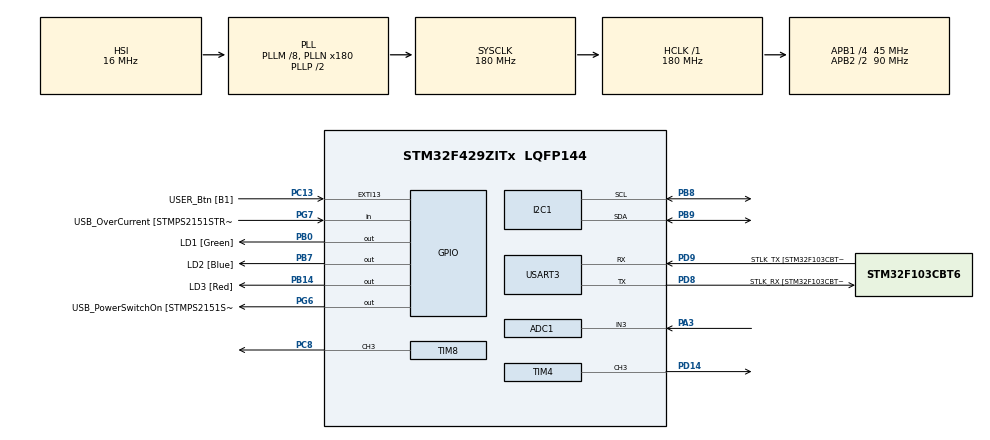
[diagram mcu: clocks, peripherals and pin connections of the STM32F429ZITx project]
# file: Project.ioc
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ADC1.Channel-0\#ChannelRegularConversion=ADC_CHANNEL_3
ADC1.EnableAnalogWatchDog=false
ADC1.ExternalTrigConv=ADC_EXTERNALTRIGCONV_T3_TRGO
ADC1.ExternalTrigConvEdge=ADC_EXTERNALTRIGCONVEDGE_RISINGFALLING
ADC1.NbrOfConversionFlag=1
ADC1.Rank-0\#ChannelRegularConversion=1
ADC1.SamplingTime-0\#ChannelRegularConversion=ADC_SAMPLETIME_3CYCLES
ADC1.master=1
Mcu.Family=STM32F4
Mcu.Name=STM32F429ZITx
Mcu.Package=LQFP144
NVIC.EXTI15_10_IRQn=true\:0\:0\:false\:true\:true\:4\:true\:true
NVIC.PriorityGroup=NVIC_PRIORITYGROUP_4
NVIC.TIM2_IRQn=true\:1\:0\:true\:true\:true\:6\:true\:true
NVIC.TIM3_IRQn=true\:0\:0\:true\:true\:true\:5\:true\:true
NVIC.TIM4_IRQn=true\:0\:0\:false\:true\:true\:2\:true\:true
NVIC.TIM5_IRQn=true\:0\:0\:false\:true\:true\:3\:true\:true
NVIC.USART3_IRQn=true\:0\:0\:false\:true\:true\:1\:true\:true
PA1.GPIO_Label=RMII_REF_CLK [LAN8742A-CZ-TR_REFCLK0]
PA1.Signal=ETH_REF_CLK
PA10.GPIO_Label=USB_ID
PA10.Signal=USB_OTG_FS_ID
PA11.GPIO_Label=USB_DM
PA11.Signal=USB_OTG_FS_DM
PA12.GPIO_Label=USB_DP
PA12.Signal=USB_OTG_FS_DP
PA13.GPIO_Label=TMS
PA13.Mode=Serial_Wire
PA13.Signal=SYS_JTMS-SWDIO
PA14.GPIO_Label=TCK
PA14.Mode=Serial_Wire
PA14.Signal=SYS_JTCK-SWCLK
PA2.GPIO_Label=RMII_MDIO [LAN8742A-CZ-TR_MDIO]
PA2.Signal=ETH_MDIO
PA3.GPIO_Mode=GPIO_MODE_ANALOG
PA3.GPIO_PuPd=GPIO_NOPULL
PA3.Signal=ADCx_IN3
PA7.GPIO_Label=RMII_CRS_DV [LAN8742A-CZ-TR_CRS_DV]
PA7.Signal=ETH_CRS_DV
PA8.GPIO_Label=USB_SOF [TP1]
PA8.Signal=USB_OTG_FS_SOF
PA9.GPIO_Label=USB_VBUS
PA9.Signal=USB_OTG_FS_VBUS
PB0.GPIO_Label=LD1 [Green]
PB0.Signal=GPIO_Output
PB13.GPIO_Label=RMII_TXD1 [LAN8742A-CZ-TR_TXD1]
PB13.Signal=ETH_TXD1
PB14.GPIO_Label=LD3 [Red]
PB14.Signal=GPIO_Output
PB7.GPIO_Label=LD2 [Blue]
PB7.Signal=GPIO_Output
PB8.GPIO_Pu=GPIO_PULLUP
PB8.Mode=I2C
PB8.Signal=I2C1_SCL
PB9.GPIO_Pu=GPIO_PULLUP
PB9.Mode=I2C
PB9.Signal=I2C1_SDA
PC1.GPIO_Label=RMII_MDC [LAN8742A-CZ-TR_MDC]
PC1.Signal=ETH_MDC
PC13.GPIO_Label=USER_Btn [B1]
PC13.GPIO_ModeDefaultEXTI=GPIO_MODE_IT_RISING_FALLING
PC13.Signal=GPXTI13
PC14/OSC32_IN.Mode=LSE-External-Oscillator
PC14/OSC32_IN.Signal=RCC_OSC32_IN
PC15/OSC32_OUT.Mode=LSE-External-Oscillator
PC15/OSC32_OUT.Signal=RCC_OSC32_OUT
PC4.GPIO_Label=RMII_RXD0 [LAN8742A-CZ-TR_RXD0]
PC4.Signal=ETH_RXD0
PC5.GPIO_Label=RMII_RXD1 [LAN8742A-CZ-TR_RXD1]
PC5.Signal=ETH_RXD1
PC8.Signal=S_TIM8_CH3
PD14.Signal=S_TIM4_CH3
PD8.GPIO_Label=STLK_RX [STM32F103CBT6_PA3]
PD8.Mode=Asynchronous
PD8.Signal=USART3_TX
PD9.GPIO_Label=STLK_TX [STM32F103CBT6_PA2]
PD9.Mode=Asynchronous
PD9.Signal=USART3_RX
PG11.GPIO_Label=RMII_TX_EN [LAN8742A-CZ-TR_TXEN]
PG11.Signal=ETH_TX_EN
PG13.GPIO_Label=RMII_TXD0 [LAN8742A-CZ-TR_TXD0]
PG13.Signal=ETH_TXD0
PG6.GPIO_Label=USB_PowerSwitchOn [STMPS2151STR_EN]
PG6.Signal=GPIO_Output
PG7.GPIO_Label=USB_OverCurrent [STMPS2151STR_FAULT]
PG7.Signal=GPIO_Input
PH0/OSC_IN.GPIO_Label=MCO [STM32F103CBT6_PA8]
PH0/OSC_IN.Mode=HSE-External-Clock-Source
PH0/OSC_IN.Signal=RCC_OSC_IN
PH1/OSC_OUT.Mode=HSE-External-Clock-Source
PH1/OSC_OUT.Signal=RCC_OSC_OUT
ProjectManager.HeapSize=0x200
ProjectManager.StackSize=0x400
ProjectManager.TargetToolchain=STM32CubeIDE
RCC.48MHZClocksFreq_Value=51428571.428571425
RCC.AHBFreq_Value=180000000
RCC.APB1CLKDivider=RCC_HCLK_DIV4
RCC.APB1Freq_Value=45000000
RCC.APB1TimFreq_Value=90000000
RCC.APB2CLKDivider=RCC_HCLK_DIV2
RCC.APB2Freq_Value=90000000
RCC.APB2TimCLKDivider=2
RCC.APB2TimFreq_Value=180000000
RCC.CortexFreq_Value=180000000
RCC.HCLKFreq_Value=180000000
RCC.HSE_VALUE=8000000
RCC.HSI_VALUE=16000000
RCC.PLLM=8
RCC.PLLMUL=RCC_PLL_MUL9
RCC.PLLN=180
RCC.PLLQ=7
RCC.PRESCALERUSB=RCC_USBCLKSOURCE_PLL_DIV1_5
RCC.RCC_RTC_Clock_Source=RCC_RTCCLKSOURCE_LSE
RCC.RCC_RTC_Clock_SourceVirtual=RCC_RTCCLKSOURCE_LSE
RCC.SYSCLKFreq_VALUE=180000000
RCC.SYSCLKSource=RCC_SYSCLKSOURCE_PLLCLK
RCC.SYSCLKSourceVirtual=RCC_SYSCLKSOURCE_PLLCLK
RCC.USBFreq_Value=48000000
RCC.VCOOutputFreq_Value=360000000
SH.ADCx_IN3.0=ADC1_IN3,IN3
SH.S_TIM4_CH3.0=TIM4_CH3,PWM Generation3 CH3
SH.S_TIM8_CH3.0=TIM8_CH3,PWM Generation3 CH3
TIM2.Period=9000
TIM2.Prescaler=10000
TIM3.Period=900
TIM3.Prescaler=10000
TIM3.TIM_MasterOutputTrigger=TIM_TRGO_UPDATE
TIM3.TIM_MasterSlaveMode=TIM_MASTERSLAVEMODE_ENABLE
TIM4.Channel-PWM\ Generation3\ CH3=TIM_CHANNEL_3
TIM4.Period=17999
TIM4.Prescaler=9999
TIM5.Period=2249
TIM5.Prescaler=1599
TIM8.Channel-PWM\ Generation3\ CH3=TIM_CHANNEL_3
TIM8.Period=199
TIM8.Prescaler=179
USART3.VirtualMode=VM_ASYNC
VP_RTC_VS_RTC_Activate.Mode=RTC_Enabled
VP_TIM2_VS_ClockSourceINT.Mode=Internal
VP_TIM3_VS_ClockSourceINT.Mode=Internal
VP_TIM5_VS_ClockSourceINT.Mode=Internal
board=NUCLEO-F429ZI

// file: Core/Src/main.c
/* USER CODE BEGIN Header */
/**
  ******************************************************************************
  * @file           : main.c
  * @brief          : Main program body
  ******************************************************************************
  * @attention
  *
  * Copyright (c) 2022 STMicroelectronics.
  * All rights reserved.
  *
  * This software is licensed under terms that can be found in the LICENSE file
  * in the root directory of this software component.
  * If no LICENSE file comes with this software, it is provided AS-IS.
  *
  ******************************************************************************
  */
/* USER CODE END Header */
#include "main.h"

/* USER CODE BEGIN Includes */
#include <string.h>
#include <stdio.h>
/* USER CODE END Includes */

/* USER CODE BEGIN PD */
#define C	262
#define D	294
#define E	330
#define F	349
#define G	392
#define A	440
#define B	494
#define C1	523
#define D1	587
#define E1	659
/* USER CODE END PD */

ADC_HandleTypeDef hadc1;

I2C_HandleTypeDef hi2c1;

RTC_HandleTypeDef hrtc;

TIM_HandleTypeDef htim2;
TIM_HandleTypeDef htim3;
TIM_HandleTypeDef htim4;
TIM_HandleTypeDef htim5;
TIM_HandleTypeDef htim8;

UART_HandleTypeDef huart3;

void SystemClock_Config(void);
static void MX_GPIO_Init(void);
static void MX_USART3_UART_Init(void);
static void MX_RTC_Init(void);
static void MX_ADC1_Init(void);
static void MX_I2C1_Init(void);
static void MX_TIM3_Init(void);
static void MX_TIM2_Init(void);
static void MX_TIM4_Init(void);
static void MX_TIM5_Init(void);
static void MX_TIM8_Init(void);
static void MX_NVIC_Init(void);

/* USER CODE BEGIN 0 */

#ifdef __GNUC__
  /* With GCC, small printf (option LD Linker->Libraries->Small printf
     set to 'Yes') calls __io_putchar() */
  #define PUTCHAR_PROTOTYPE int __io_putchar(int ch)
#else
  #define PUTCHAR_PROTOTYPE int fputc(int ch, FILE *f)
#endif /* __GNUC__ */

#define UP_KEY_MIN 0
#define UP_KEY_MAX 10

#define DOWN_KEY_MIN 800
#define DOWN_KEY_MAX 900

#define LEFT_KEY_MIN 1900
#define LEFT_KEY_MAX 2000

#define RIGHT_KEY_MIN 2950
#define RIGHT_KEY_MAX 3050

#define LONG_CLICK_MIN 1500  //1.5sec
#define LONG_CLICK_MAX 5000  //5sec

#define DOUBLE_CLICK_MIN 40
#define DOUBLE_CLICK_MAX 120
/*
 * led.c
 *
 *  Created on: Jan 3, 2022
 *      Author: 1
 */

#include "main.h"
#include "pitches.h"
I2C_HandleTypeDef hi2c1;

RTC_HandleTypeDef hrtc;

UART_HandleTypeDef huart3;

uint16_t melody1[] = {
NOTE_C5,NOTE_C5,NOTE_C5,NOTE_C5,NOTE_C5,
NOTE_E5,NOTE_G5,NOTE_G5,NOTE_E5,NOTE_C5,
NOTE_G5,NOTE_G5,NOTE_E5,NOTE_G5,NOTE_G5,NOTE_E5,
NOTE_C5,NOTE_C5,NOTE_C5,
NOTE_G5,NOTE_G5,NOTE_E5,NOTE_C5,
NOTE_G5,NOTE_G5,NOTE_G5,
NOTE_G5,NOTE_G5,NOTE_E5,NOTE_C5,
NOTE_G5,NOTE_G5,NOTE_G5,
NOTE_G5,NOTE_G5,NOTE_E5,NOTE_C5,
NOTE_G5,NOTE_G5,NOTE_G5,NOTE_A5,NOTE_G5,
NOTE_C6,NOTE_G5,NOTE_C6,NOTE_G5,
NOTE_E5,NOTE_D5,NOTE_C5
};
uint16_t noteDurations1[]={
4,8,8,4,4,
4,8,8,4,4,
8,8,4,8,8,4,
4,4,2,
4,4,4,4,
4,4,2,
4,4,4,4,
4,4,2,
4,4,4,4,
8,8,8,8,2,
4,4,4,4,
4,4,2
};

uint8_t start = 0;
uint8_t seq = 0;
uint8_t stop = 0;
uint16_t melody2[] = {
NOTE_B5,NOTE_B5,NOTE_B5,NOTE_B5,NOTE_B5,NOTE_B5,
NOTE_DS6,NOTE_B5,NOTE_B5,NOTE_A5,NOTE_G5,NOTE_A5,NOTE_B5,
NOTE_B5,NOTE_B5,NOTE_B5,NOTE_B5,NOTE_B5,NOTE_B5,
NOTE_B5,NOTE_A5,NOTE_G5,NOTE_A5,NOTE_G5,NOTE_D5,NOTE_D5,0,
NOTE_B5,NOTE_B5,NOTE_B5,NOTE_B5,NOTE_B5,NOTE_B5,
NOTE_DS6,NOTE_B5,NOTE_B5,NOTE_A5,NOTE_G5,NOTE_A5,NOTE_B5,
NOTE_B5,NOTE_B5,NOTE_B5,NOTE_B5,NOTE_B5,NOTE_B5,
NOTE_B5,NOTE_A5,NOTE_G5,NOTE_A5,NOTE_G5,NOTE_D5,NOTE_D5,0,
NOTE_E5,NOTE_FS5,NOTE_E5,NOTE_FS5,NOTE_E5,NOTE_FS5,NOTE_E5,NOTE_FS5,
NOTE_E5,NOTE_FS5,NOTE_E5,NOTE_FS5,NOTE_E5,NOTE_FS5,NOTE_E5,NOTE_FS5,
NOTE_E5,NOTE_E5
};
uint16_t noteDurations2[]={
4,4,2,4,4,2,
4,4,4,4,4,4,4,2,
4,4,2,4,4,2,
4,4,4,4,4,4,2,16,
4,4,2,4,4,2,
4,4,4,4,4,4,4,2,
4,4,2,4,4,2,
4,4,4,4,4,4,2,16,
8,8,8,8,8,8,8,8,
8,8,8,8,8,8,8,8,
1,1
};
uint16_t melody3[] = {
NOTE_B5,NOTE_B5,NOTE_B5,NOTE_B5,NOTE_B5,NOTE_B5,
NOTE_DS6,NOTE_B5,NOTE_B5,NOTE_A5,NOTE_G5,NOTE_A5,NOTE_B5,
NOTE_B5,NOTE_B5,NOTE_B5,NOTE_B5,NOTE_B5,NOTE_B5,
NOTE_B5,NOTE_A5,NOTE_G5,NOTE_A5,NOTE_G5,NOTE_D5,NOTE_D5,0,
NOTE_B5,NOTE_B5,NOTE_B5,NOTE_B5,NOTE_B5,NOTE_B5,
NOTE_DS6,NOTE_B5,NOTE_B5,NOTE_A5,NOTE_G5,NOTE_A5,NOTE_B5,
NOTE_B5,NOTE_B5,NOTE_B5,NOTE_B5,NOTE_B5,NOTE_B5,
NOTE_B5,NOTE_A5,NOTE_G5,NOTE_A5,NOTE_G5,NOTE_D5,NOTE_D5,0,
NOTE_E5,NOTE_FS5,NOTE_E5,NOTE_FS5,NOTE_E5,NOTE_FS5,NOTE_E5,NOTE_FS5,
NOTE_E5,NOTE_FS5,NOTE_E5,NOTE_FS5,NOTE_E5,NOTE_FS5,NOTE_E5,NOTE_FS5,
NOTE_E5,NOTE_E5
};

uint16_t noteDurations3[]={
4,4,2,4,4,2,
4,4,4,4,4,4,4,2,
4,4,2,4,4,2,
4,4,4,4,4,4,2,16,
4,4,2,4,4,2,
4,4,4,4,4,4,4,2,
4,4,2,4,4,2,
4,4,4,4,4,4,2,16,
8,8,8,8,8,8,8,8,
8,8,8,8,8,8,8,8,
1,1

};

#define LCD_ADDR (0x27 << 1)

#define PIN_RS    (1 << 0)
#define PIN_EN    (1 << 2)
#define BACKLIGHT (1 << 3)

#define LCD_DELAY_MS 5

void I2C_Scan() {
	 char info[] = "Scanning I2C bus...\r\n";
    HAL_UART_Transmit(&huart3, (uint8_t*)info, strlen(info), HAL_MAX_DELAY);

    HAL_StatusTypeDef res;
    for(uint16_t i = 0; i < 128; i++) {
        res = HAL_I2C_IsDeviceReady(&hi2c1, i << 1, 1, 10);
        if(res == HAL_OK) {
            char msg[64];
            snprintf(msg, sizeof(msg), "0x%02X", i);
            HAL_UART_Transmit(&huart3, (uint8_t*)msg, strlen(msg), HAL_MAX_DELAY);
        } else {
            HAL_UART_Transmit(&huart3, (uint8_t*)".", 1, HAL_MAX_DELAY);
        }
    }

    HAL_UART_Transmit(&huart3, (uint8_t*)"\r\n", 2, HAL_MAX_DELAY);
}

HAL_StatusTypeDef LCD_SendInternal(uint8_t lcd_addr, uint8_t data, uint8_t flags) {
    HAL_StatusTypeDef res;
    for(;;) {
        res = HAL_I2C_IsDeviceReady(&hi2c1, lcd_addr, 1, HAL_MAX_DELAY);
        if(res == HAL_OK)
            break;
    }

    uint8_t up = data & 0xF0;
    uint8_t lo = (data << 4) & 0xF0;

    uint8_t data_arr[4];
    data_arr[0] = up|flags|BACKLIGHT|PIN_EN;
    data_arr[1] = up|flags|BACKLIGHT;
    data_arr[2] = lo|flags|BACKLIGHT|PIN_EN;
    data_arr[3] = lo|flags|BACKLIGHT;

    res = HAL_I2C_Master_Transmit(&hi2c1, lcd_addr, data_arr, sizeof(data_arr), HAL_MAX_DELAY);
    HAL_Delay(LCD_DELAY_MS);
    return res;
}

void LCD_SendCommand(uint8_t lcd_addr, uint8_t cmd) {
    LCD_SendInternal(lcd_addr, cmd, 0);
}

void LCD_SendData(uint8_t lcd_addr, uint8_t data) {
    LCD_SendInternal(lcd_addr, data, PIN_RS);
}

void LCD_Init(uint8_t lcd_addr) {
    // 4-bit mode, 2 lines, 5x7 format
    LCD_SendCommand(lcd_addr, 0b00110000);
    // display & cursor home (keep this!)
    LCD_SendCommand(lcd_addr, 0b00000010);
    // display on, right shift, underline off, blink off
    LCD_SendCommand(lcd_addr, 0b00001100);
    // clear display (optional here)
    LCD_SendCommand(lcd_addr, 0b00000001);
}

void LCD_SendString(uint8_t lcd_addr, char *str) {
    while(*str) {
        LCD_SendData(lcd_addr, (uint8_t)(*str));
        str++;
    }
}
void LCD_print(int line_num,char *str)
{
	if(line_num == 0)
	{
	    LCD_SendCommand(LCD_ADDR, 0b10000000);
	    LCD_SendString(LCD_ADDR, str);
	}
	else
	{
	    LCD_SendCommand(LCD_ADDR, 0b11000000);
	    LCD_SendString(LCD_ADDR, str);
	}
}
void init() {
    I2C_Scan();
    LCD_Init(LCD_ADDR);

}

void loop() {
    HAL_Delay(100);
}

uint32_t FirstSector = 0, NbOfSectors = 0;
uint32_t Address = 0, SECTORError = 0;
__IO uint32_t data32 = 0 , MemoryProgramStatus = 0;
static FLASH_EraseInitTypeDef EraseInitStruct;

static uint32_t GetSector(uint32_t Address);
static uint32_t GetSectorSize(uint32_t Sector);

typedef struct {
  char ampm[3];
  uint8_t hours;
  uint8_t minutes;
  uint8_t seconds;
}TimeTypeDef;
uint8_t Key_value = 0,tim_set = 0;
TimeTypeDef ctime = {"AM",0,0,0};
TimeTypeDef stime = {"AM",0,0,0};
TimeTypeDef atime = {"AM",12,0,0};
uint32_t long_key_count;
char rcv_byte;

uint32_t ADC_value;
uint32_t last_time,current_time,time_interval, last_time_interval;

typedef struct{
  int32_t time;
  GPIO_PinState level;
}ClickInfoDef;

ClickInfoDef click[3];

enum CLOCK_BUTTON{
	NO_KEY,
	UP_KEY,
	DOWN_KEY,
	RIGHT_KEY,
	LEFT_KEY,
	SEL_KEY,
	LONG_KEY,
	DOUBLE_KEY
};

char time_str[30];
char stime_str[30];
char atime_str[30];
uint8_t setting_Location=0;
uint8_t alarm_Location=0;
uint8_t Cursor = 0b11000000;
uint8_t Music_Select=0;
uint8_t Mel;
uint8_t Length;
uint32_t address_melody=0x08108000;
uint32_t address_length=0x08110000;
uint8_t rx_data = 0;
void Memory(uint32_t Start,uint32_t end,TimeTypeDef clock)//Memory set
{
	  HAL_FLASH_Unlock();
	  FirstSector = GetSector(Start);
	  /* Get the number of sector to erase from 1st sector*/
	  NbOfSectors = GetSector(end) - FirstSector + 1;
	  /* Fill EraseInit structure*/
	  EraseInitStruct.TypeErase     = FLASH_TYPEERASE_SECTORS;
	  EraseInitStruct.VoltageRange  = FLASH_VOLTAGE_RANGE_3;
	  EraseInitStruct.Sector        = FirstSector;
	  EraseInitStruct.NbSectors     = NbOfSectors;

	  /* Note: If an erase operation in Flash memory also concerns data in the data or instruction cache,
	     you have to make sure that these data are rewritten before they are accessed during code
	     execution. If this cannot be done safely, it is recommended to flush the caches by setting the
	     DCRST and ICRST bits in the FLASH_CR register. */
	 if(HAL_FLASHEx_Erase(&EraseInitStruct, &SECTORError) != HAL_OK)
	  {
	    /*
	      Error occurred while sector erase.
	      User can add here some code to deal with this error.
	      SECTORError will contain the faulty sector and then to know the code error on this sector,
	      user can call function 'HAL_FLASH_GetError()'
	    */
	    /* Infinite loop */
	    while (1)
	    {
	    }
	  }

	    HAL_FLASH_Program(FLASH_TYPEPROGRAM_WORD, Start, clock.hours);
	    HAL_FLASH_Program(FLASH_TYPEPROGRAM_WORD, Start+4, clock.minutes);
	    HAL_FLASH_Program(FLASH_TYPEPROGRAM_WORD, Start+8, clock.seconds);
	 	 HAL_FLASH_Lock();
}

void Memory1(uint32_t Start,uint32_t end,uint16_t Melody[])//Memory set
{
	  HAL_FLASH_Unlock();
	  FirstSector = GetSector(Start);
	  /* Get the number of sector to erase from 1st sector*/
	  NbOfSectors =  1;
	  /* Fill EraseInit structure*/
	  EraseInitStruct.TypeErase     = FLASH_TYPEERASE_SECTORS;
	  EraseInitStruct.VoltageRange  = FLASH_VOLTAGE_RANGE_3;
	  EraseInitStruct.Sector        = FirstSector;
	  EraseInitStruct.NbSectors     = NbOfSectors;

	  /* Note: If an erase operation in Flash memory also concerns data in the data or instruction cache,
	     you have to make sure that these data are rewritten before they are accessed during code
	     execution. If this cannot be done safely, it is recommended to flush the caches by setting the
	     DCRST and ICRST bits in the FLASH_CR register. */
	 if(HAL_FLASHEx_Erase(&EraseInitStruct, &SECTORError) != HAL_OK)
	  {
	    /*
	      Error occurred while sector erase.
	      User can add here some code to deal with this error.
	      SECTORError will contain the faulty sector and then to know the code error on this sector,
	      user can call function 'HAL_FLASH_GetError()'
	    */
	    /* Infinite loop */
	    while (1)
	    {
	    }
	  }
	 for(int i = 0 ; Melody[i] != 0 ; i++)
	 {
	    HAL_FLASH_Program(FLASH_TYPEPROGRAM_WORD, Start, Melody[i]);
	    Start += 4;
	 }
	 	 HAL_FLASH_Lock();
}

void Music_set()
{

	if(Key_value == UP_KEY)
	{
		Music_Select++;
		if(Music_Select >= 3) Music_Select = 2;
	}
	else if (Key_value == DOWN_KEY)
	{
		Music_Select--;
		if(Music_Select < 0) Music_Select = 0;
	}
	LCD_print(0,"Alarm Music Sel ");
	if(Music_Select==0)
	{
		LCD_print(1,"Three bears      ");
		if(Key_value == LONG_KEY)
		{
			printf("Mel1\r\n");
			Memory1(ADDR_FLASH_SECTOR_14,ADDR_FLASH_SECTOR_15,melody1);
			Memory1(ADDR_FLASH_SECTOR_15,ADDR_FLASH_SECTOR_16,noteDurations1);
		}
	}
	if(Music_Select==1)
	{
		LCD_print(1,"Squid Game BGM    ");
		if(Key_value == LONG_KEY)
		{
			printf("Mel2\r\n");
			Memory1(ADDR_FLASH_SECTOR_14,ADDR_FLASH_SECTOR_15,melody2);
			Memory1(ADDR_FLASH_SECTOR_15,ADDR_FLASH_SECTOR_16,noteDurations2);
		}
	}
	if(Music_Select==2)
	{
		LCD_print(1,"Kill Bill ost      ");
		if(Key_value == LONG_KEY)
		{
			printf("Mel3\r\n");
			Memory1(ADDR_FLASH_SECTOR_14,ADDR_FLASH_SECTOR_15,melody3);
			Memory1(ADDR_FLASH_SECTOR_16,ADDR_FLASH_SECTOR_17,noteDurations3);
		}
	}

}

void time_setting()
{

		if(Key_value == RIGHT_KEY)
		{
			setting_Location++;
			if(setting_Location >= 4) setting_Location = 3;
		}
		else if (Key_value == LEFT_KEY)
		{
			setting_Location--;
			if(setting_Location < 0) setting_Location = 0;
		}
		if(setting_Location == 0)
		{
			if(Key_value == UP_KEY || Key_value == DOWN_KEY)
			{
		    	if(strchr(stime.ampm,'A')!= 0) strcpy(stime.ampm,"PM");
		    	else if(strchr(stime.ampm,'P')!= 0) strcpy(stime.ampm,"AM");
			}
		}
		if(setting_Location == 1)
		{
			Cursor = 0b11000100;
			if(Key_value == UP_KEY) stime.hours++;
			else if(Key_value == DOWN_KEY) stime.hours--;
			if(stime.hours >= 11) stime.hours = 11;
			if(stime.hours<0) stime.hours = 0;
		}
		if(setting_Location == 2)
		{
			Cursor = 0b11000111;
			if(Key_value == UP_KEY) stime.minutes++;
			else if(Key_value == DOWN_KEY) stime.minutes--;
			if(stime.minutes >= 59)	stime.minutes = 59;
			if(stime.minutes<0) stime.minutes = 0;
		}
		if(setting_Location == 3)
		{
			Cursor = 0b11001010;
			if(Key_value == UP_KEY) stime.seconds++;
			else if(Key_value == DOWN_KEY) stime.seconds--;
			if(stime.seconds >= 59)	stime.seconds = 59;
			if(stime.seconds<0) stime.seconds = 0;

		}
		sprintf(stime_str,"%s %02d:%02d:%02d        ",stime.ampm,stime.hours,stime.minutes,stime.seconds);
		LCD_print(0,"Time Setting    ");
		LCD_print(1,stime_str);

		LCD_SendCommand(LCD_ADDR, 0b00001101);
		LCD_SendCommand(LCD_ADDR, Cursor);
		HAL_Delay(200);

}
void alarm_setting()
{
	if(Key_value == RIGHT_KEY)
	{
		alarm_Location++;
		if(alarm_Location >= 4) alarm_Location = 3;

	}
	else if (Key_value == LEFT_KEY)
	{
		alarm_Location--;
		if(alarm_Location < 0) alarm_Location = 0;
	}
	if(alarm_Location == 0)
	{
		if(Key_value == UP_KEY || Key_value == DOWN_KEY)
		{
	    	if(strchr(stime.ampm,'A')!= 0) strcpy(stime.ampm,"PM");
	    	else if(strchr(stime.ampm,'P')!= 0) strcpy(stime.ampm,"AM");
		}
	}
	if(alarm_Location == 1)
	{
		Cursor = 0b11000100;
		if(Key_value == UP_KEY) atime.hours++;
		else if(Key_value == DOWN_KEY) atime.hours--;
		if(atime.hours >= 11) atime.hours = 11;
		if(atime.hours<0) atime.hours = 0;
	}
	if(alarm_Location == 2)
	{
		Cursor = 0b11000111;
		if(Key_value == UP_KEY) atime.minutes++;
		else if(Key_value == DOWN_KEY) atime.minutes--;
		if(atime.minutes >= 59) atime.minutes = 59;
		if(atime.minutes<0) atime.minutes = 0;
	}
	if(alarm_Location == 3)
	{
		Cursor = 0b11001010;
		if(Key_value == UP_KEY) atime.seconds++;
		else if(Key_value == DOWN_KEY) atime.seconds--;
		if(atime.seconds >= 59)	atime.seconds = 59;
		if(atime.seconds<0) atime.seconds = 0;
	}
	sprintf(atime_str,"%s %02d:%02d:%02d AL     ",atime.ampm,atime.hours,atime.minutes,atime.seconds);
	LCD_print(0,"Alarm Setting    ");
	LCD_print(1,atime_str);

    LCD_SendCommand(LCD_ADDR, 0b00001101);
    LCD_SendCommand(LCD_ADDR, Cursor);
    HAL_Delay(200);
}

/* USER CODE END 0 */

int main(void)
{

  /* MCU Configuration--------------------------------------------------------*/

  /* Reset of all peripherals, Initializes the Flash interface and the Systick. */
  HAL_Init();

  /* Configure the system clock */
  SystemClock_Config();

  /* Initialize all configured peripherals */
  MX_GPIO_Init();
  MX_USART3_UART_Init();
  MX_RTC_Init();
  MX_ADC1_Init();
  MX_I2C1_Init();
  MX_TIM3_Init();
  MX_TIM2_Init();
  MX_TIM4_Init();
  MX_TIM5_Init();
  MX_TIM8_Init();

  /* Initialize interrupts */
  MX_NVIC_Init();
  /* USER CODE BEGIN 2 */
  HAL_TIM_Base_Start_IT(&htim3);
  HAL_TIM_Base_Start_IT(&htim2);
  HAL_TIM_Base_Start_IT(&htim5);
  HAL_TIM_PWM_Start(&htim8, TIM_CHANNEL_3);
  HAL_UART_Receive_IT(&huart3, &rx_data, 1);
  ctime.hours = *(uint32_t *)0x08100000;
  ctime.minutes =*(uint32_t *)0x08100004;
  ctime.seconds =*(uint32_t *)0x08100008;

  /* USER CODE END 2 */

  /* Infinite loop */
  /* USER CODE BEGIN WHILE */
  init();

  while (1)
  {

	  if(Key_value == SEL_KEY)
	  {
			while(1)
			{

				time_setting();

				if(Key_value == SEL_KEY)
				{
					Memory(ADDR_FLASH_SECTOR_13,ADDR_FLASH_SECTOR_14,stime);
					ctime.hours = stime.hours;
					ctime.minutes = stime.minutes;
					ctime.seconds = stime.seconds;
					stime.hours =0;
					stime.minutes =0;
					stime.seconds =0;
					break;
				}

			}
	  }
	  else if(Key_value == LONG_KEY)
	  {
		  while(1)
		 {
			alarm_setting();

			if(Key_value == SEL_KEY)
			{
				printf("%02d\r\n",atime.hours);
				printf("%02d\r\n",atime.minutes);
				printf("%02d\r\n",atime.seconds);
				break;
			}
		 }

	  }
	  else if(Key_value == DOUBLE_KEY)
	  {
		  while(1)
		  {
			  Music_set();

			if(Key_value == SEL_KEY)
				break;
		  }
	  }

	  sprintf(time_str,"%s %02d:%02d:%02d       ",ctime.ampm,ctime.hours,ctime.minutes,ctime.seconds);
	  if((ctime.seconds % 10) ==0) Memory(ADDR_FLASH_SECTOR_12,ADDR_FLASH_SECTOR_13,ctime);
	  LCD_print(0,"Current Time      ");
	  LCD_print(1,time_str);

	  if(ctime.hours == atime.hours && ctime.minutes == atime.minutes && ctime.seconds == atime.seconds)
	  {
			start = 1;
			seq = 0;
			while(1)
			{
				if(Key_value == SEL_KEY){
					HAL_TIM_Base_Stop_IT(&htim5);
					HAL_TIM_PWM_Stop(&htim8, TIM_CHANNEL_3);
					break;
				}
				LCD_print(0,"It is your Time      ");
				uint16_t  Mel = *(uint32_t *)address_melody;
				uint16_t  Length =*(uint32_t *)address_length;

				if(stop == 1){
					TIM5->ARR = 2000;
					stop = 0;
				}
				else{
					if(Mel > 0xFFFFF){
						 Mel = *(uint32_t *)address_melody;
						 Length =*(uint32_t *)address_length;
					}
					else{
						TIM8->ARR = Mel;
						TIM8->CCR3 = Mel / 2;
						TIM5->ARR = Length * 2000;
						stop = 1;

						  address_melody += 4;
						  address_length += 4;
					}
				}
			}
	  }

    /* USER CODE END WHILE */

  }
}

void SystemClock_Config(void)
{
  RCC_OscInitTypeDef RCC_OscInitStruct = {0};
  RCC_ClkInitTypeDef RCC_ClkInitStruct = {0};

  /** Configure the main internal regulator output voltage
  */
  __HAL_RCC_PWR_CLK_ENABLE();
  __HAL_PWR_VOLTAGESCALING_CONFIG(PWR_REGULATOR_VOLTAGE_SCALE1);
  /** Initializes the RCC Oscillators according to the specified parameters
  * in the RCC_OscInitTypeDef structure.
  */
  RCC_OscInitStruct.OscillatorType = RCC_OSCILLATORTYPE_HSI|RCC_OSCILLATORTYPE_LSE;
  RCC_OscInitStruct.LSEState = RCC_LSE_ON;
  RCC_OscInitStruct.HSIState = RCC_HSI_ON;
  RCC_OscInitStruct.HSICalibrationValue = RCC_HSICALIBRATION_DEFAULT;
  RCC_OscInitStruct.PLL.PLLState = RCC_PLL_ON;
  RCC_OscInitStruct.PLL.PLLSource = RCC_PLLSOURCE_HSI;
  RCC_OscInitStruct.PLL.PLLM = 8;
  RCC_OscInitStruct.PLL.PLLN = 180;
  RCC_OscInitStruct.PLL.PLLP = RCC_PLLP_DIV2;
  RCC_OscInitStruct.PLL.PLLQ = 7;
  if (HAL_RCC_OscConfig(&RCC_OscInitStruct) != HAL_OK)
  {
    Error_Handler();
  }
  /** Activate the Over-Drive mode
  */
  if (HAL_PWREx_EnableOverDrive() != HAL_OK)
  {
    Error_Handler();
  }
  /** Initializes the CPU, AHB and APB buses clocks
  */
  RCC_ClkInitStruct.ClockType = RCC_CLOCKTYPE_HCLK|RCC_CLOCKTYPE_SYSCLK
                              |RCC_CLOCKTYPE_PCLK1|RCC_CLOCKTYPE_PCLK2;
  RCC_ClkInitStruct.SYSCLKSource = RCC_SYSCLKSOURCE_PLLCLK;
  RCC_ClkInitStruct.AHBCLKDivider = RCC_SYSCLK_DIV1;
  RCC_ClkInitStruct.APB1CLKDivider = RCC_HCLK_DIV4;
  RCC_ClkInitStruct.APB2CLKDivider = RCC_HCLK_DIV2;

  if (HAL_RCC_ClockConfig(&RCC_ClkInitStruct, FLASH_LATENCY_5) != HAL_OK)
  {
    Error_Handler();
  }
}

/**
  * @brief NVIC Configuration.
  * @retval None
  */
static void MX_NVIC_Init(void)
{
  /* USART3_IRQn interrupt configuration */
  HAL_NVIC_SetPriority(USART3_IRQn, 0, 0);
  HAL_NVIC_EnableIRQ(USART3_IRQn);
  /* TIM4_IRQn interrupt configuration */
  HAL_NVIC_SetPriority(TIM4_IRQn, 0, 0);
  HAL_NVIC_EnableIRQ(TIM4_IRQn);
  /* TIM5_IRQn interrupt configuration */
  HAL_NVIC_SetPriority(TIM5_IRQn, 0, 0);
  HAL_NVIC_EnableIRQ(TIM5_IRQn);
  /* EXTI15_10_IRQn interrupt configuration */
  HAL_NVIC_SetPriority(EXTI15_10_IRQn, 0, 0);
  HAL_NVIC_EnableIRQ(EXTI15_10_IRQn);
  /* TIM3_IRQn interrupt configuration */
  HAL_NVIC_SetPriority(TIM3_IRQn, 0, 0);
  HAL_NVIC_EnableIRQ(TIM3_IRQn);
  /* TIM2_IRQn interrupt configuration */
  HAL_NVIC_SetPriority(TIM2_IRQn, 1, 0);
  HAL_NVIC_EnableIRQ(TIM2_IRQn);
}

static void MX_ADC1_Init(void)
{

  ADC_ChannelConfTypeDef sConfig = {0};

  /** Configure the global features of the ADC (Clock, Resolution, Data Alignment and number of conversion)
  */
  hadc1.Instance = ADC1;
  hadc1.Init.ClockPrescaler = ADC_CLOCK_SYNC_PCLK_DIV4;
  hadc1.Init.Resolution = ADC_RESOLUTION_12B;
  hadc1.Init.ScanConvMode = DISABLE;
  hadc1.Init.ContinuousConvMode = DISABLE;
  hadc1.Init.DiscontinuousConvMode = DISABLE;
  hadc1.Init.ExternalTrigConvEdge = ADC_EXTERNALTRIGCONVEDGE_RISINGFALLING;
  hadc1.Init.ExternalTrigConv = ADC_EXTERNALTRIGCONV_T3_TRGO;
  hadc1.Init.DataAlign = ADC_DATAALIGN_RIGHT;
  hadc1.Init.NbrOfConversion = 1;
  hadc1.Init.DMAContinuousRequests = DISABLE;
  hadc1.Init.EOCSelection = ADC_EOC_SINGLE_CONV;
  if (HAL_ADC_Init(&hadc1) != HAL_OK)
  {
    Error_Handler();
  }
  /** Configure for the selected ADC regular channel its corresponding rank in the sequencer and its sample time.
  */
  sConfig.Channel = ADC_CHANNEL_3;
  sConfig.Rank = 1;
  sConfig.SamplingTime = ADC_SAMPLETIME_3CYCLES;
  if (HAL_ADC_ConfigChannel(&hadc1, &sConfig) != HAL_OK)
  {
    Error_Handler();
  }

}

static void MX_I2C1_Init(void)
{

  hi2c1.Instance = I2C1;
  hi2c1.Init.ClockSpeed = 100000;
  hi2c1.Init.DutyCycle = I2C_DUTYCYCLE_2;
  hi2c1.Init.OwnAddress1 = 0;
  hi2c1.Init.AddressingMode = I2C_ADDRESSINGMODE_7BIT;
  hi2c1.Init.DualAddressMode = I2C_DUALADDRESS_DISABLE;
  hi2c1.Init.OwnAddress2 = 0;
  hi2c1.Init.GeneralCallMode = I2C_GENERALCALL_DISABLE;
  hi2c1.Init.NoStretchMode = I2C_NOSTRETCH_DISABLE;
  if (HAL_I2C_Init(&hi2c1) != HAL_OK)
  {
    Error_Handler();
  }
  /** Configure Analogue filter
  */
  if (HAL_I2CEx_ConfigAnalogFilter(&hi2c1, I2C_ANALOGFILTER_ENABLE) != HAL_OK)
  {
    Error_Handler();
  }
  /** Configure Digital filter
  */
  if (HAL_I2CEx_ConfigDigitalFilter(&hi2c1, 0) != HAL_OK)
  {
    Error_Handler();
  }

}

static void MX_RTC_Init(void)
{

  /** Initialize RTC Only
  */
  hrtc.Instance = RTC;
  hrtc.Init.HourFormat = RTC_HOURFORMAT_24;
  hrtc.Init.AsynchPrediv = 127;
  hrtc.Init.SynchPrediv = 255;
  hrtc.Init.OutPut = RTC_OUTPUT_DISABLE;
  hrtc.Init.OutPutPolarity = RTC_OUTPUT_POLARITY_HIGH;
  hrtc.Init.OutPutType = RTC_OUTPUT_TYPE_OPENDRAIN;
  if (HAL_RTC_Init(&hrtc) != HAL_OK)
  {
    Error_Handler();
  }

}

static void MX_TIM2_Init(void)
{

  TIM_ClockConfigTypeDef sClockSourceConfig = {0};
  TIM_MasterConfigTypeDef sMasterConfig = {0};

  htim2.Instance = TIM2;
  htim2.Init.Prescaler = 10000;
  htim2.Init.CounterMode = TIM_COUNTERMODE_UP;
  htim2.Init.Period = 9000;
  htim2.Init.ClockDivision = TIM_CLOCKDIVISION_DIV1;
  htim2.Init.AutoReloadPreload = TIM_AUTORELOAD_PRELOAD_DISABLE;
  if (HAL_TIM_Base_Init(&htim2) != HAL_OK)
  {
    Error_Handler();
  }
  sClockSourceConfig.ClockSource = TIM_CLOCKSOURCE_INTERNAL;
  if (HAL_TIM_ConfigClockSource(&htim2, &sClockSourceConfig) != HAL_OK)
  {
    Error_Handler();
  }
  sMasterConfig.MasterOutputTrigger = TIM_TRGO_RESET;
  sMasterConfig.MasterSlaveMode = TIM_MASTERSLAVEMODE_DISABLE;
  if (HAL_TIMEx_MasterConfigSynchronization(&htim2, &sMasterConfig) != HAL_OK)
  {
    Error_Handler();
  }

}

static void MX_TIM3_Init(void)
{

  TIM_ClockConfigTypeDef sClockSourceConfig = {0};
  TIM_MasterConfigTypeDef sMasterConfig = {0};

  htim3.Instance = TIM3;
  htim3.Init.Prescaler = 10000;
  htim3.Init.CounterMode = TIM_COUNTERMODE_UP;
  htim3.Init.Period = 900;
  htim3.Init.ClockDivision = TIM_CLOCKDIVISION_DIV1;
  htim3.Init.AutoReloadPreload = TIM_AUTORELOAD_PRELOAD_DISABLE;
  if (HAL_TIM_Base_Init(&htim3) != HAL_OK)
  {
    Error_Handler();
  }
  sClockSourceConfig.ClockSource = TIM_CLOCKSOURCE_INTERNAL;
  if (HAL_TIM_ConfigClockSource(&htim3, &sClockSourceConfig) != HAL_OK)
  {
    Error_Handler();
  }
  sMasterConfig.MasterOutputTrigger = TIM_TRGO_UPDATE;
  sMasterConfig.MasterSlaveMode = TIM_MASTERSLAVEMODE_ENABLE;
  if (HAL_TIMEx_MasterConfigSynchronization(&htim3, &sMasterConfig) != HAL_OK)
  {
    Error_Handler();
  }

}

static void MX_TIM4_Init(void)
{

  TIM_MasterConfigTypeDef sMasterConfig = {0};
  TIM_OC_InitTypeDef sConfigOC = {0};

  htim4.Instance = TIM4;
  htim4.Init.Prescaler = 9999;
  htim4.Init.CounterMode = TIM_COUNTERMODE_UP;
  htim4.Init.Period = 17999;
  htim4.Init.ClockDivision = TIM_CLOCKDIVISION_DIV1;
  htim4.Init.AutoReloadPreload = TIM_AUTORELOAD_PRELOAD_DISABLE;
  if (HAL_TIM_PWM_Init(&htim4) != HAL_OK)
  {
    Error_Handler();
  }
  sMasterConfig.MasterOutputTrigger = TIM_TRGO_RESET;
  sMasterConfig.MasterSlaveMode = TIM_MASTERSLAVEMODE_DISABLE;
  if (HAL_TIMEx_MasterConfigSynchronization(&htim4, &sMasterConfig) != HAL_OK)
  {
    Error_Handler();
  }
  sConfigOC.OCMode = TIM_OCMODE_PWM1;
  sConfigOC.Pulse = 0;
  sConfigOC.OCPolarity = TIM_OCPOLARITY_HIGH;
  sConfigOC.OCFastMode = TIM_OCFAST_DISABLE;
  if (HAL_TIM_PWM_ConfigChannel(&htim4, &sConfigOC, TIM_CHANNEL_3) != HAL_OK)
  {
    Error_Handler();
  }
  HAL_TIM_MspPostInit(&htim4);

}

static void MX_TIM5_Init(void)
{

  TIM_ClockConfigTypeDef sClockSourceConfig = {0};
  TIM_MasterConfigTypeDef sMasterConfig = {0};

  htim5.Instance = TIM5;
  htim5.Init.Prescaler = 1599;
  htim5.Init.CounterMode = TIM_COUNTERMODE_UP;
  htim5.Init.Period = 2249;
  htim5.Init.ClockDivision = TIM_CLOCKDIVISION_DIV1;
  htim5.Init.AutoReloadPreload = TIM_AUTORELOAD_PRELOAD_DISABLE;
  if (HAL_TIM_Base_Init(&htim5) != HAL_OK)
  {
    Error_Handler();
  }
  sClockSourceConfig.ClockSource = TIM_CLOCKSOURCE_INTERNAL;
  if (HAL_TIM_ConfigClockSource(&htim5, &sClockSourceConfig) != HAL_OK)
  {
    Error_Handler();
  }
  sMasterConfig.MasterOutputTrigger = TIM_TRGO_RESET;
  sMasterConfig.MasterSlaveMode = TIM_MASTERSLAVEMODE_DISABLE;
  if (HAL_TIMEx_MasterConfigSynchronization(&htim5, &sMasterConfig) != HAL_OK)
  {
    Error_Handler();
  }

}

static void MX_TIM8_Init(void)
{

  TIM_MasterConfigTypeDef sMasterConfig = {0};
  TIM_OC_InitTypeDef sConfigOC = {0};
  TIM_BreakDeadTimeConfigTypeDef sBreakDeadTimeConfig = {0};

  htim8.Instance = TIM8;
  htim8.Init.Prescaler = 179;
  htim8.Init.CounterMode = TIM_COUNTERMODE_UP;
  htim8.Init.Period = 199;
  htim8.Init.ClockDivision = TIM_CLOCKDIVISION_DIV1;
  htim8.Init.RepetitionCounter = 0;
  htim8.Init.AutoReloadPreload = TIM_AUTORELOAD_PRELOAD_DISABLE;
  if (HAL_TIM_PWM_Init(&htim8) != HAL_OK)
  {
    Error_Handler();
  }
  sMasterConfig.MasterOutputTrigger = TIM_TRGO_RESET;
  sMasterConfig.MasterSlaveMode = TIM_MASTERSLAVEMODE_DISABLE;
  if (HAL_TIMEx_MasterConfigSynchronization(&htim8, &sMasterConfig) != HAL_OK)
  {
    Error_Handler();
  }
  sConfigOC.OCMode = TIM_OCMODE_PWM1;
  sConfigOC.Pulse = 0;
  sConfigOC.OCPolarity = TIM_OCPOLARITY_HIGH;
  sConfigOC.OCNPolarity = TIM_OCNPOLARITY_HIGH;
  sConfigOC.OCFastMode = TIM_OCFAST_DISABLE;
  sConfigOC.OCIdleState = TIM_OCIDLESTATE_RESET;
  sConfigOC.OCNIdleState = TIM_OCNIDLESTATE_RESET;
  if (HAL_TIM_PWM_ConfigChannel(&htim8, &sConfigOC, TIM_CHANNEL_3) != HAL_OK)
  {
    Error_Handler();
  }
  sBreakDeadTimeConfig.OffStateRunMode = TIM_OSSR_DISABLE;
  sBreakDeadTimeConfig.OffStateIDLEMode = TIM_OSSI_DISABLE;
  sBreakDeadTimeConfig.LockLevel = TIM_LOCKLEVEL_OFF;
  sBreakDeadTimeConfig.DeadTime = 0;
  sBreakDeadTimeConfig.BreakState = TIM_BREAK_DISABLE;
  sBreakDeadTimeConfig.BreakPolarity = TIM_BREAKPOLARITY_HIGH;
  sBreakDeadTimeConfig.AutomaticOutput = TIM_AUTOMATICOUTPUT_DISABLE;
  if (HAL_TIMEx_ConfigBreakDeadTime(&htim8, &sBreakDeadTimeConfig) != HAL_OK)
  {
    Error_Handler();
  }
  HAL_TIM_MspPostInit(&htim8);

}

static void MX_USART3_UART_Init(void)
{

  huart3.Instance = USART3;
  huart3.Init.BaudRate = 115200;
  huart3.Init.WordLength = UART_WORDLENGTH_8B;
  huart3.Init.StopBits = UART_STOPBITS_1;
  huart3.Init.Parity = UART_PARITY_NONE;
  huart3.Init.Mode = UART_MODE_TX_RX;
  huart3.Init.HwFlowCtl = UART_HWCONTROL_NONE;
  huart3.Init.OverSampling = UART_OVERSAMPLING_16;
  if (HAL_UART_Init(&huart3) != HAL_OK)
  {
    Error_Handler();
  }

}

static void MX_GPIO_Init(void)
{
  GPIO_InitTypeDef GPIO_InitStruct = {0};

  /* GPIO Ports Clock Enable */
  __HAL_RCC_GPIOC_CLK_ENABLE();
  __HAL_RCC_GPIOH_CLK_ENABLE();
  __HAL_RCC_GPIOA_CLK_ENABLE();
  __HAL_RCC_GPIOB_CLK_ENABLE();
  __HAL_RCC_GPIOD_CLK_ENABLE();
  __HAL_RCC_GPIOG_CLK_ENABLE();

  /*Configure GPIO pin Output Level */
  HAL_GPIO_WritePin(GPIOB, LD1_Pin|LD3_Pin|LD2_Pin, GPIO_PIN_RESET);

  /*Configure GPIO pin Output Level */
  HAL_GPIO_WritePin(USB_PowerSwitchOn_GPIO_Port, USB_PowerSwitchOn_Pin, GPIO_PIN_RESET);

  /*Configure GPIO pin : USER_Btn_Pin */
  GPIO_InitStruct.Pin = USER_Btn_Pin;
  GPIO_InitStruct.Mode = GPIO_MODE_IT_RISING_FALLING;
  GPIO_InitStruct.Pull = GPIO_NOPULL;
  HAL_GPIO_Init(USER_Btn_GPIO_Port, &GPIO_InitStruct);

  /*Configure GPIO pins : RMII_MDC_Pin RMII_RXD0_Pin RMII_RXD1_Pin */
  GPIO_InitStruct.Pin = RMII_MDC_Pin|RMII_RXD0_Pin|RMII_RXD1_Pin;
  GPIO_InitStruct.Mode = GPIO_MODE_AF_PP;
  GPIO_InitStruct.Pull = GPIO_NOPULL;
  GPIO_InitStruct.Speed = GPIO_SPEED_FREQ_VERY_HIGH;
  GPIO_InitStruct.Alternate = GPIO_AF11_ETH;
  HAL_GPIO_Init(GPIOC, &GPIO_InitStruct);

  /*Configure GPIO pins : RMII_REF_CLK_Pin RMII_MDIO_Pin RMII_CRS_DV_Pin */
  GPIO_InitStruct.Pin = RMII_REF_CLK_Pin|RMII_MDIO_Pin|RMII_CRS_DV_Pin;
  GPIO_InitStruct.Mode = GPIO_MODE_AF_PP;
  GPIO_InitStruct.Pull = GPIO_NOPULL;
  GPIO_InitStruct.Speed = GPIO_SPEED_FREQ_VERY_HIGH;
  GPIO_InitStruct.Alternate = GPIO_AF11_ETH;
  HAL_GPIO_Init(GPIOA, &GPIO_InitStruct);

  /*Configure GPIO pins : LD1_Pin LD3_Pin LD2_Pin */
  GPIO_InitStruct.Pin = LD1_Pin|LD3_Pin|LD2_Pin;
  GPIO_InitStruct.Mode = GPIO_MODE_OUTPUT_PP;
  GPIO_InitStruct.Pull = GPIO_NOPULL;
  GPIO_InitStruct.Speed = GPIO_SPEED_FREQ_LOW;
  HAL_GPIO_Init(GPIOB, &GPIO_InitStruct);

  /*Configure GPIO pin : RMII_TXD1_Pin */
  GPIO_InitStruct.Pin = RMII_TXD1_Pin;
  GPIO_InitStruct.Mode = GPIO_MODE_AF_PP;
  GPIO_InitStruct.Pull = GPIO_NOPULL;
  GPIO_InitStruct.Speed = GPIO_SPEED_FREQ_VERY_HIGH;
  GPIO_InitStruct.Alternate = GPIO_AF11_ETH;
  HAL_GPIO_Init(RMII_TXD1_GPIO_Port, &GPIO_InitStruct);

  /*Configure GPIO pin : USB_PowerSwitchOn_Pin */
  GPIO_InitStruct.Pin = USB_PowerSwitchOn_Pin;
  GPIO_InitStruct.Mode = GPIO_MODE_OUTPUT_PP;
  GPIO_InitStruct.Pull = GPIO_NOPULL;
  GPIO_InitStruct.Speed = GPIO_SPEED_FREQ_LOW;
  HAL_GPIO_Init(USB_PowerSwitchOn_GPIO_Port, &GPIO_InitStruct);

  /*Configure GPIO pin : USB_OverCurrent_Pin */
  GPIO_InitStruct.Pin = USB_OverCurrent_Pin;
  GPIO_InitStruct.Mode = GPIO_MODE_INPUT;
  GPIO_InitStruct.Pull = GPIO_NOPULL;
  HAL_GPIO_Init(USB_OverCurrent_GPIO_Port, &GPIO_InitStruct);

  /*Configure GPIO pins : USB_SOF_Pin USB_ID_Pin USB_DM_Pin USB_DP_Pin */
  GPIO_InitStruct.Pin = USB_SOF_Pin|USB_ID_Pin|USB_DM_Pin|USB_DP_Pin;
  GPIO_InitStruct.Mode = GPIO_MODE_AF_PP;
  GPIO_InitStruct.Pull = GPIO_NOPULL;
  GPIO_InitStruct.Speed = GPIO_SPEED_FREQ_VERY_HIGH;
  GPIO_InitStruct.Alternate = GPIO_AF10_OTG_FS;
  HAL_GPIO_Init(GPIOA, &GPIO_InitStruct);

  /*Configure GPIO pin : USB_VBUS_Pin */
  GPIO_InitStruct.Pin = USB_VBUS_Pin;
  GPIO_InitStruct.Mode = GPIO_MODE_INPUT;
  GPIO_InitStruct.Pull = GPIO_NOPULL;
  HAL_GPIO_Init(USB_VBUS_GPIO_Port, &GPIO_InitStruct);

  /*Configure GPIO pins : RMII_TX_EN_Pin RMII_TXD0_Pin */
  GPIO_InitStruct.Pin = RMII_TX_EN_Pin|RMII_TXD0_Pin;
  GPIO_InitStruct.Mode = GPIO_MODE_AF_PP;
  GPIO_InitStruct.Pull = GPIO_NOPULL;
  GPIO_InitStruct.Speed = GPIO_SPEED_FREQ_VERY_HIGH;
  GPIO_InitStruct.Alternate = GPIO_AF11_ETH;
  HAL_GPIO_Init(GPIOG, &GPIO_InitStruct);

}

/* USER CODE BEGIN 4 */
void HAL_TIM_PeriodElapsedCallback(TIM_HandleTypeDef *htim)
{
	  if(htim->Instance==TIM2)
	  {
	      ctime.seconds++;

	      if(ctime.seconds>=60)
	      {
	    	ctime.minutes++;
	    	ctime.seconds = 0;
	      }
	      if(ctime.minutes>=60)
	      {
	    	ctime.hours++;
	        ctime.minutes = 0;
	      }
	      if(ctime.hours>=12)
	      {
	    	ctime.hours = 0;
	    	if(strchr(stime.ampm,'A')!= 0) strcpy(stime.ampm,"PM");
	    	else if(strchr(stime.ampm,'P')!= 0) strcpy(stime.ampm,"AM");
	      }

	  }

  else if(htim->Instance==TIM3)
  {
	  ADC_value = HAL_ADC_GetValue(&hadc1);
	  HAL_ADC_Start(&hadc1);

	//printf("%d\r\n",ADC_value);
	    if(ADC_value<=UP_KEY_MAX)
	    {
	    	printf("UP\r\n");
	    	return Key_value= UP_KEY;
	    }
	    if(ADC_value>= DOWN_KEY_MIN && ADC_value<=DOWN_KEY_MAX)
	    {
	    	printf("DOWN\r\n");
	    	return Key_value= DOWN_KEY;
	    }
	    if(ADC_value>= LEFT_KEY_MIN && ADC_value<=LEFT_KEY_MAX)
	    {
	    	printf("LEFT\r\n");
	    	return Key_value= LEFT_KEY;
	    }
	    if(ADC_value>= RIGHT_KEY_MIN && ADC_value<=RIGHT_KEY_MAX)
	    {
	    	printf("RIGHT\r\n");
	    	return Key_value= RIGHT_KEY;
	    }
	    else
	    {
	    	 return Key_value = NO_KEY;
	    }
  }
  else if (htim->Instance==TIM8)
  {

  }

}
void HAL_UART_RxCpltCallback(UART_HandleTypeDef *huart)
{
	if(huart->Instance == USART3){
		uint8_t ch;

		ch = rx_data;
		if(ch == 'a')	return Key_value= UP_KEY;
		else if(ch == 'b')	return Key_value= DOWN_KEY;
		else if(ch == 'e')	return Key_value= SEL_KEY;
		else if(ch == 'c')	return Key_value= LEFT_KEY;
		else if(ch == 'd')	return Key_value= RIGHT_KEY;
		else if(ch == 'e')	return Key_value= LONG_KEY;
		else if(ch == 'f')	return Key_value= DOUBLE_KEY;

		HAL_UART_Receive_IT(&huart3, &rx_data, 1);
	}
}
void HAL_GPIO_EXTI_Callback(uint16_t GPIO_Pin)
{
  GPIO_PinState pin;
  int i;

  if(GPIO_Pin == GPIO_PIN_13)
  {
	current_time = HAL_GetTick();
    time_interval = current_time - last_time;
    last_time = current_time;

    pin = HAL_GPIO_ReadPin(GPIOC,GPIO_PIN_13);

	//printf("<%d,%d>\r\n",pin,time_interval);

    if(time_interval<=2) // noise
    {
    	//printf("Noise %d,%d\r\n",pin,time_interval);
    }
    else
    {

      click[2].time = click[1].time;
      click[2].level = click[1].level;

      click[1].time = click[0].time;
      click[1].level = click[0].level;

      click[0].time = time_interval;
      click[0].level = pin;
#if 0
      printf("===============\r\n");

      for(i=0;i<3;i++)
      {
    	  printf("[%d,%d]\r\n",click[i].level,click[i].time);
      }
      printf("===============\r\n");
#endif
      if( click[2].level ==GPIO_PIN_RESET && click[1].level == GPIO_PIN_SET &&  click[0].level ==GPIO_PIN_RESET)
      {
    	  for(i=0;i<3;i++)
    	  {
    		  if(click[i].time>= DOUBLE_CLICK_MIN && click[i].time <= DOUBLE_CLICK_MAX)
    		  {
    			  continue;
    		  }
    		  else
    			  break;
    	  }
    	  if(i==3)
    	  {
      		printf("Double Click\r\n");
      		Key_value= DOUBLE_KEY;
    	  }
      }

	  if(click[0].level == GPIO_PIN_RESET && click[0].time >=LONG_CLICK_MIN) // long click
	  {
		printf("Long Key\r\n");
		Key_value= LONG_KEY;
	  }
	  else if(click[0].level == GPIO_PIN_RESET && click[0].time < LONG_CLICK_MIN && click[0].time > DOUBLE_CLICK_MAX)
	  {
		 printf("Select Key, %d\r\n",click[0].time);
		 Key_value= SEL_KEY;
	  }

    }
  }
}
static uint32_t GetSector(uint32_t Address)
{
  uint32_t sector = 0;

  if((Address < ADDR_FLASH_SECTOR_1) && (Address >= ADDR_FLASH_SECTOR_0))
  {
    sector = FLASH_SECTOR_0;
  }
  else if((Address < ADDR_FLASH_SECTOR_2) && (Address >= ADDR_FLASH_SECTOR_1))
  {
    sector = FLASH_SECTOR_1;
  }
  else if((Address < ADDR_FLASH_SECTOR_3) && (Address >= ADDR_FLASH_SECTOR_2))
  {
    sector = FLASH_SECTOR_2;
  }
  else if((Address < ADDR_FLASH_SECTOR_4) && (Address >= ADDR_FLASH_SECTOR_3))
  {
    sector = FLASH_SECTOR_3;
  }
  else if((Address < ADDR_FLASH_SECTOR_5) && (Address >= ADDR_FLASH_SECTOR_4))
  {
    sector = FLASH_SECTOR_4;
  }
  else if((Address < ADDR_FLASH_SECTOR_6) && (Address >= ADDR_FLASH_SECTOR_5))
  {
    sector = FLASH_SECTOR_5;
  }
  else if((Address < ADDR_FLASH_SECTOR_7) && (Address >= ADDR_FLASH_SECTOR_6))
  {
    sector = FLASH_SECTOR_6;
  }
  else if((Address < ADDR_FLASH_SECTOR_8) && (Address >= ADDR_FLASH_SECTOR_7))
  {
    sector = FLASH_SECTOR_7;
  }
  else if((Address < ADDR_FLASH_SECTOR_9) && (Address >= ADDR_FLASH_SECTOR_8))
  {
    sector = FLASH_SECTOR_8;
  }
  else if((Address < ADDR_FLASH_SECTOR_10) && (Address >= ADDR_FLASH_SECTOR_9))
  {
    sector = FLASH_SECTOR_9;
  }
  else if((Address < ADDR_FLASH_SECTOR_11) && (Address >= ADDR_FLASH_SECTOR_10))
  {
    sector = FLASH_SECTOR_10;
  }
  else if((Address < ADDR_FLASH_SECTOR_12) && (Address >= ADDR_FLASH_SECTOR_11))
  {
    sector = FLASH_SECTOR_11;
  }
  else if((Address < ADDR_FLASH_SECTOR_13) && (Address >= ADDR_FLASH_SECTOR_12))
  {
    sector = FLASH_SECTOR_12;
  }
  else if((Address < ADDR_FLASH_SECTOR_14) && (Address >= ADDR_FLASH_SECTOR_13))
  {
    sector = FLASH_SECTOR_13;
  }
  else if((Address < ADDR_FLASH_SECTOR_15) && (Address >= ADDR_FLASH_SECTOR_14))
  {
    sector = FLASH_SECTOR_14;
  }
  else if((Address < ADDR_FLASH_SECTOR_16) && (Address >= ADDR_FLASH_SECTOR_15))
  {
    sector = FLASH_SECTOR_15;
  }
  else if((Address < ADDR_FLASH_SECTOR_17) && (Address >= ADDR_FLASH_SECTOR_16))
  {
    sector = FLASH_SECTOR_16;
  }
  else if((Address < ADDR_FLASH_SECTOR_18) && (Address >= ADDR_FLASH_SECTOR_17))
  {
    sector = FLASH_SECTOR_17;
  }
  else if((Address < ADDR_FLASH_SECTOR_19) && (Address >= ADDR_FLASH_SECTOR_18))
  {
    sector = FLASH_SECTOR_18;
  }
  else if((Address < ADDR_FLASH_SECTOR_20) && (Address >= ADDR_FLASH_SECTOR_19))
  {
    sector = FLASH_SECTOR_19;
  }
  else if((Address < ADDR_FLASH_SECTOR_21) && (Address >= ADDR_FLASH_SECTOR_20))
  {
    sector = FLASH_SECTOR_20;
  }
  else if((Address < ADDR_FLASH_SECTOR_22) && (Address >= ADDR_FLASH_SECTOR_21))
  {
    sector = FLASH_SECTOR_21;
  }
  else if((Address < ADDR_FLASH_SECTOR_23) && (Address >= ADDR_FLASH_SECTOR_22))
  {
    sector = FLASH_SECTOR_22;
  }
  else /* (Address < FLASH_END_ADDR) && (Address >= ADDR_FLASH_SECTOR_23) */
  {
    sector = FLASH_SECTOR_23;
  }
  return sector;
}

/**
  * @brief  Gets sector Size
  * @param  None
  * @retval The size of a given sector
  */
static uint32_t GetSectorSize(uint32_t Sector)
{
  uint32_t sectorsize = 0x00;
  if((Sector == FLASH_SECTOR_0) || (Sector == FLASH_SECTOR_1) || (Sector == FLASH_SECTOR_2) ||\
     (Sector == FLASH_SECTOR_3) || (Sector == FLASH_SECTOR_12) || (Sector == FLASH_SECTOR_13) ||\
     (Sector == FLASH_SECTOR_14) || (Sector == FLASH_SECTOR_15))
  {
    sectorsize = 16 * 1024;
  }
  else if((Sector == FLASH_SECTOR_4) || (Sector == FLASH_SECTOR_16))
  {
    sectorsize = 64 * 1024;
  }
  else
  {
    sectorsize = 128 * 1024;
  }
  return sectorsize;
}

PUTCHAR_PROTOTYPE
{
  /* Place your implementation of fputc here */
  /* e.g. write a character to the EVAL_COM1 and Loop until the end of transmission */
  HAL_UART_Transmit(&huart3, (uint8_t *)&ch, 1, 0xFFFF);

  return ch;
}
/* USER CODE END 4 */

void Error_Handler(void)
{
  __disable_irq();
  while (1)
  {
  }
}
